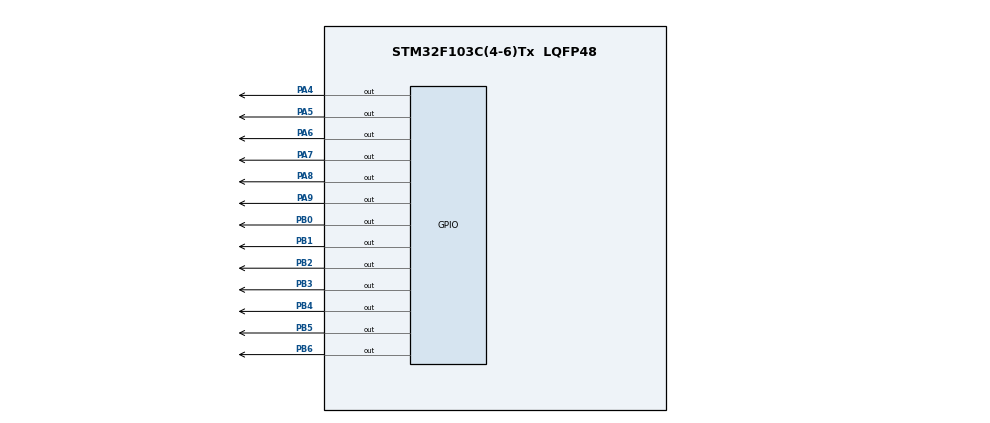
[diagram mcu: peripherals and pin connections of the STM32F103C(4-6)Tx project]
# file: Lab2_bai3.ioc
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Mcu.Family=STM32F1
Mcu.Name=STM32F103C(4-6)Tx
Mcu.Package=LQFP48
NVIC.PriorityGroup=NVIC_PRIORITYGROUP_4
NVIC.TIM2_IRQn=true\:0\:0\:false\:false\:true\:true\:true
PA13.Mode=Serial_Wire
PA13.Signal=SYS_JTMS-SWDIO
PA14.Mode=Serial_Wire
PA14.Signal=SYS_JTCK-SWCLK
PA4.Signal=GPIO_Output
PA5.Signal=GPIO_Output
PA6.Signal=GPIO_Output
PA7.Signal=GPIO_Output
PA8.Signal=GPIO_Output
PA9.Signal=GPIO_Output
PB0.Signal=GPIO_Output
PB1.Signal=GPIO_Output
PB2.Signal=GPIO_Output
PB3.Signal=GPIO_Output
PB4.Signal=GPIO_Output
PB5.Signal=GPIO_Output
PB6.Signal=GPIO_Output
PD0-OSC_IN.Mode=HSE-External-Oscillator
PD0-OSC_IN.Signal=RCC_OSC_IN
PD1-OSC_OUT.Mode=HSE-External-Oscillator
PD1-OSC_OUT.Signal=RCC_OSC_OUT
ProjectManager.HeapSize=0x200
ProjectManager.StackSize=0x400
ProjectManager.TargetToolchain=STM32CubeIDE
RCC.APB1Freq_Value=8000000
RCC.APB2Freq_Value=8000000
RCC.SYSCLKSource=RCC_SYSCLKSOURCE_HSE
TIM2.Period=499
TIM2.Prescaler=7999
VP_TIM2_VS_ClockSourceINT.Mode=Internal
board=custom

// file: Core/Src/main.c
/* USER CODE BEGIN Header */
/**
  ******************************************************************************
  * @file           : main.c
  * @brief          : Main program body
  ******************************************************************************
  * @attention
  *
  * <h2><center>&copy; Copyright (c) 2021 STMicroelectronics.
  * All rights reserved.</center></h2>
  *
  * This software component is licensed by ST under BSD 3-Clause license,
  * the "License"; You may not use this file except in compliance with the
  * License. You may obtain a copy of the License at:
  *                        opensource.org/licenses/BSD-3-Clause
  *
  ******************************************************************************
  */
/* USER CODE END Header */
#include "main.h"

TIM_HandleTypeDef htim2;
uint8_t number = 0;
uint8_t State = 0;
int hour = 15, minute = 8, second = 50;

void SystemClock_Config(void);
static void MX_GPIO_Init(void);
static void MX_TIM2_Init(void);

int main(void)
{

  /* MCU Configuration--------------------------------------------------------*/

  /* Reset of all peripherals, Initializes the Flash interface and the Systick. */
  HAL_Init();

  /* Configure the system clock */
  SystemClock_Config();

  /* Initialize all configured peripherals */
  MX_GPIO_Init();
  MX_TIM2_Init();
  /* USER CODE BEGIN 2 */
  HAL_TIM_Base_Start_IT(&htim2);
  /* USER CODE END 2 */

  /* Infinite loop */
  while (1)
  {

  }
}

void SystemClock_Config(void)
{
  RCC_OscInitTypeDef RCC_OscInitStruct = {0};
  RCC_ClkInitTypeDef RCC_ClkInitStruct = {0};

  /** Initializes the RCC Oscillators according to the specified parameters
  * in the RCC_OscInitTypeDef structure.
  */
  RCC_OscInitStruct.OscillatorType = RCC_OSCILLATORTYPE_HSE;
  RCC_OscInitStruct.HSEState = RCC_HSE_ON;
  RCC_OscInitStruct.PLL.PLLState = RCC_PLL_NONE;
  if (HAL_RCC_OscConfig(&RCC_OscInitStruct) != HAL_OK)
  {
    Error_Handler();
  }
  /** Initializes the CPU, AHB and APB buses clocks
  */
  RCC_ClkInitStruct.ClockType = RCC_CLOCKTYPE_HCLK|RCC_CLOCKTYPE_SYSCLK
                              |RCC_CLOCKTYPE_PCLK1|RCC_CLOCKTYPE_PCLK2;
  RCC_ClkInitStruct.SYSCLKSource = RCC_SYSCLKSOURCE_HSE;
  RCC_ClkInitStruct.AHBCLKDivider = RCC_SYSCLK_DIV1;
  RCC_ClkInitStruct.APB1CLKDivider = RCC_HCLK_DIV1;
  RCC_ClkInitStruct.APB2CLKDivider = RCC_HCLK_DIV1;

  if (HAL_RCC_ClockConfig(&RCC_ClkInitStruct, FLASH_LATENCY_0) != HAL_OK)
  {
    Error_Handler();
  }
}

static void MX_TIM2_Init(void)
{

  TIM_ClockConfigTypeDef sClockSourceConfig = {0};
  TIM_MasterConfigTypeDef sMasterConfig = {0};

  htim2.Instance = TIM2;
  htim2.Init.Prescaler = 7999;
  htim2.Init.CounterMode = TIM_COUNTERMODE_UP;
  htim2.Init.Period = 499;
  htim2.Init.ClockDivision = TIM_CLOCKDIVISION_DIV1;
  htim2.Init.AutoReloadPreload = TIM_AUTORELOAD_PRELOAD_DISABLE;
  if (HAL_TIM_Base_Init(&htim2) != HAL_OK)
  {
    Error_Handler();
  }
  sClockSourceConfig.ClockSource = TIM_CLOCKSOURCE_INTERNAL;
  if (HAL_TIM_ConfigClockSource(&htim2, &sClockSourceConfig) != HAL_OK)
  {
    Error_Handler();
  }
  sMasterConfig.MasterOutputTrigger = TIM_TRGO_RESET;
  sMasterConfig.MasterSlaveMode = TIM_MASTERSLAVEMODE_DISABLE;
  if (HAL_TIMEx_MasterConfigSynchronization(&htim2, &sMasterConfig) != HAL_OK)
  {
    Error_Handler();
  }

}

static void MX_GPIO_Init(void)
{
  GPIO_InitTypeDef GPIO_InitStruct = {0};

  /* GPIO Ports Clock Enable */
  __HAL_RCC_GPIOD_CLK_ENABLE();
  __HAL_RCC_GPIOA_CLK_ENABLE();
  __HAL_RCC_GPIOB_CLK_ENABLE();

  /*Configure GPIO pin Output Level */
  HAL_GPIO_WritePin(GPIOA, GPIO_PIN_4|GPIO_PIN_5|GPIO_PIN_6|GPIO_PIN_7
                          |GPIO_PIN_8|GPIO_PIN_9, GPIO_PIN_RESET);

  /*Configure GPIO pin Output Level */
  HAL_GPIO_WritePin(GPIOB, GPIO_PIN_0|GPIO_PIN_1|GPIO_PIN_2|GPIO_PIN_3
                          |GPIO_PIN_4|GPIO_PIN_5|GPIO_PIN_6, GPIO_PIN_RESET);

  /*Configure GPIO pins : PA4 PA5 PA6 PA7
                           PA8 PA9 */
  GPIO_InitStruct.Pin = GPIO_PIN_4|GPIO_PIN_5|GPIO_PIN_6|GPIO_PIN_7
                          |GPIO_PIN_8|GPIO_PIN_9;
  GPIO_InitStruct.Mode = GPIO_MODE_OUTPUT_PP;
  GPIO_InitStruct.Pull = GPIO_NOPULL;
  GPIO_InitStruct.Speed = GPIO_SPEED_FREQ_LOW;
  HAL_GPIO_Init(GPIOA, &GPIO_InitStruct);

  /*Configure GPIO pins : PB0 PB1 PB2 PB3
                           PB4 PB5 PB6 */
  GPIO_InitStruct.Pin = GPIO_PIN_0|GPIO_PIN_1|GPIO_PIN_2|GPIO_PIN_3
                          |GPIO_PIN_4|GPIO_PIN_5|GPIO_PIN_6;
  GPIO_InitStruct.Mode = GPIO_MODE_OUTPUT_PP;
  GPIO_InitStruct.Pull = GPIO_NOPULL;
  GPIO_InitStruct.Speed = GPIO_SPEED_FREQ_LOW;
  HAL_GPIO_Init(GPIOB, &GPIO_InitStruct);

}

/* USER CODE BEGIN 4 */
void display7SEG(int num)
{
	HAL_GPIO_WritePin(GPIOB, GPIO_PIN_0|GPIO_PIN_1|GPIO_PIN_2|GPIO_PIN_3|GPIO_PIN_4|GPIO_PIN_5|GPIO_PIN_6, GPIO_PIN_SET);
	switch (num)
	{
	case 0: HAL_GPIO_WritePin(GPIOB, GPIO_PIN_0|GPIO_PIN_1|GPIO_PIN_2|GPIO_PIN_3|GPIO_PIN_4|GPIO_PIN_5, GPIO_PIN_RESET);
			break;
	case 1: HAL_GPIO_WritePin(GPIOB, GPIO_PIN_1|GPIO_PIN_2, GPIO_PIN_RESET);
			break;
	case 2: HAL_GPIO_WritePin(GPIOB, GPIO_PIN_0|GPIO_PIN_1|GPIO_PIN_3|GPIO_PIN_4|GPIO_PIN_6, GPIO_PIN_RESET);
			break;
	case 3: HAL_GPIO_WritePin(GPIOB, GPIO_PIN_0|GPIO_PIN_1|GPIO_PIN_2|GPIO_PIN_3|GPIO_PIN_6, GPIO_PIN_RESET);
			break;
	case 4: HAL_GPIO_WritePin(GPIOB, GPIO_PIN_1|GPIO_PIN_2|GPIO_PIN_5|GPIO_PIN_6, GPIO_PIN_RESET);
			break;
	case 5: HAL_GPIO_WritePin(GPIOB, GPIO_PIN_0|GPIO_PIN_2|GPIO_PIN_3|GPIO_PIN_5|GPIO_PIN_6, GPIO_PIN_RESET);
			break;
	case 6: HAL_GPIO_WritePin(GPIOB, GPIO_PIN_0|GPIO_PIN_2|GPIO_PIN_3|GPIO_PIN_4|GPIO_PIN_5|GPIO_PIN_6, GPIO_PIN_RESET);
			break;
	case 7: HAL_GPIO_WritePin(GPIOB, GPIO_PIN_0|GPIO_PIN_1|GPIO_PIN_2, GPIO_PIN_RESET);
			break;
	case 8: HAL_GPIO_WritePin(GPIOB, GPIO_PIN_0|GPIO_PIN_1|GPIO_PIN_2|GPIO_PIN_3|GPIO_PIN_4|GPIO_PIN_5|GPIO_PIN_6, GPIO_PIN_RESET);
			break;
	case 9: HAL_GPIO_WritePin(GPIOB, GPIO_PIN_0|GPIO_PIN_1|GPIO_PIN_2|GPIO_PIN_3|GPIO_PIN_5|GPIO_PIN_6, GPIO_PIN_RESET);
			break;
	default: HAL_GPIO_WritePin(GPIOB, GPIO_PIN_2|GPIO_PIN_3|GPIO_PIN_4|GPIO_PIN_5|GPIO_PIN_6, GPIO_PIN_RESET);
			break;
	}
}
const int MAX_LED = 4;
int index_led = 0;
int led_buffer [4] = {1, 2, 3, 4};
void update7SEG (int index){
	switch(index){
	case 0:
		// Display the first 7 SEG with led_buffer [0]
		display7SEG(led_buffer[0]);
		HAL_GPIO_WritePin(GPIOA, GPIO_PIN_6, GPIO_PIN_RESET);
		HAL_GPIO_WritePin(GPIOA, GPIO_PIN_7 | GPIO_PIN_8 | GPIO_PIN_9, GPIO_PIN_SET);
		break;
	case 1:
		// Display the second 7 SEG with led_buffer [1]
		display7SEG(led_buffer[1]);
		HAL_GPIO_WritePin(GPIOA, GPIO_PIN_7, GPIO_PIN_RESET);
		HAL_GPIO_WritePin(GPIOA, GPIO_PIN_6 | GPIO_PIN_8 | GPIO_PIN_9, GPIO_PIN_SET);
		break;
	case 2:
		// Display the third 7 SEG with led_buffer [2]
		display7SEG(led_buffer[2]);
		HAL_GPIO_WritePin(GPIOA, GPIO_PIN_8, GPIO_PIN_RESET);
		HAL_GPIO_WritePin(GPIOA, GPIO_PIN_6 | GPIO_PIN_7 | GPIO_PIN_9, GPIO_PIN_SET);
		break;
	case 3:
		// Display the forth 7 SEG with led_buffer [3]
		display7SEG(led_buffer[3]);
		HAL_GPIO_WritePin(GPIOA, GPIO_PIN_9, GPIO_PIN_RESET);
		HAL_GPIO_WritePin(GPIOA, GPIO_PIN_6 | GPIO_PIN_7 | GPIO_PIN_8, GPIO_PIN_SET);
		break;
	default:
		break;
	}
}

// timer
int count = 0;
int led_index = 0;
void HAL_TIM_PeriodElapsedCallback ( TIM_HandleTypeDef * htim ){
	if(htim->Instance == htim2.Instance){
		count++;
		update7SEG (led_index++);
		if(led_index >= MAX_LED) led_index = 0;
		HAL_GPIO_TogglePin(GPIOA, GPIO_PIN_5);
		if(count==2){
			HAL_GPIO_TogglePin(GPIOA, GPIO_PIN_4);
			count = 0;
		}
	}
}
/* USER CODE END 4 */

void Error_Handler(void)
{
  __disable_irq();
  while (1)
  {
  }
}

/************************ (C) COPYRIGHT STMicroelectronics *****END OF FILE****/
